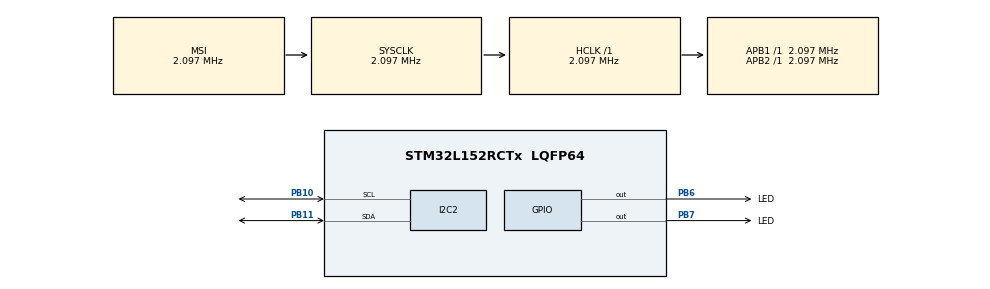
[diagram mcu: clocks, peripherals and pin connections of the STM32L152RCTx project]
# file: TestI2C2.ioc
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Mcu.Family=STM32L1
Mcu.Name=STM32L152RCTx
Mcu.Package=LQFP64
NVIC.PriorityGroup=NVIC_PRIORITYGROUP_4
PB10.Mode=I2C
PB10.Signal=I2C2_SCL
PB11.Mode=I2C
PB11.Signal=I2C2_SDA
PB6.GPIO_Label=LED
PB6.Signal=GPIO_Output
PB7.GPIO_Label=LED
PB7.Signal=GPIO_Output
ProjectManager.HeapSize=0x200
ProjectManager.StackSize=0x400
ProjectManager.TargetToolchain=TrueSTUDIO
RCC.AHBFreq_Value=2097000
RCC.APB1Freq_Value=2097000
RCC.APB2Freq_Value=2097000
RCC.HSE_VALUE=24000000
RCC.HSI_VALUE=16000000
RCC.LSE_VALUE=32768
RCC.MSI_VALUE=2097000
RCC.SYSCLKFreq_VALUE=2097000
RCC.VCOOutputFreq_Value=48000000
board=TestI2C2

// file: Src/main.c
/**
  ******************************************************************************
  * @file           : main.c
  * @brief          : Main program body
  ******************************************************************************
  ** This notice applies to any and all portions of this file
  * that are not between comment pairs USER CODE BEGIN and
  * USER CODE END. Other portions of this file, whether
  * inserted by the user or by software development tools
  * are owned by their respective copyright owners.
  *
  * COPYRIGHT(c) 2018 STMicroelectronics
  *
  * Redistribution and use in source and binary forms, with or without modification,
  * are permitted provided that the following conditions are met:
  *   1. Redistributions of source code must retain the above copyright notice,
  *      this list of conditions and the following disclaimer.
  *   2. Redistributions in binary form must reproduce the above copyright notice,
  *      this list of conditions and the following disclaimer in the documentation
  *      and/or other materials provided with the distribution.
  *   3. Neither the name of STMicroelectronics nor the names of its contributors
  *      may be used to endorse or promote products derived from this software
  *      without specific prior written permission.
  *
  * THIS SOFTWARE IS PROVIDED BY THE COPYRIGHT HOLDERS AND CONTRIBUTORS "AS IS"
  * AND ANY EXPRESS OR IMPLIED WARRANTIES, INCLUDING, BUT NOT LIMITED TO, THE
  * IMPLIED WARRANTIES OF MERCHANTABILITY AND FITNESS FOR A PARTICULAR PURPOSE ARE
  * DISCLAIMED. IN NO EVENT SHALL THE COPYRIGHT HOLDER OR CONTRIBUTORS BE LIABLE
  * FOR ANY DIRECT, INDIRECT, INCIDENTAL, SPECIAL, EXEMPLARY, OR CONSEQUENTIAL
  * DAMAGES (INCLUDING, BUT NOT LIMITED TO, PROCUREMENT OF SUBSTITUTE GOODS OR
  * SERVICES; LOSS OF USE, DATA, OR PROFITS; OR BUSINESS INTERRUPTION) HOWEVER
  * CAUSED AND ON ANY THEORY OF LIABILITY, WHETHER IN CONTRACT, STRICT LIABILITY,
  * OR TORT (INCLUDING NEGLIGENCE OR OTHERWISE) ARISING IN ANY WAY OUT OF THE USE
  * OF THIS SOFTWARE, EVEN IF ADVISED OF THE POSSIBILITY OF SUCH DAMAGE.
  *
  ******************************************************************************
  */
#include "main.h"
#include "stm32l1xx_hal.h"
#include <stdio.h>
#include <stdlib.h>

/* USER CODE BEGIN PV */
/* Private variables ---------------------------------------------------------*/
I2C_HandleTypeDef hi2c2;
/* USER CODE END PV */

void SystemClock_Config(void);
static void MX_GPIO_Init(void);
static void MX_I2C2_Init(void);
static void SetupLTC(uint8_t *pData01);
static void ReadLTC(uint8_t *pData01);

/* USER CODE BEGIN PFP */
/* Private function prototypes -----------------------------------------------*/

/* USER CODE END PFP */

int main(void)
{
  /* USER CODE BEGIN 1 */
//testestsetesetst
  /* USER CODE END 1 */

  /* MCU Configuration----------------------------------------------------------*/

  /* Reset of all peripherals, Initializes the Flash interface and the Systick. */
  HAL_Init();

  /* Configure the system clock */

  /* Initialize all configured peripherals */
  MX_GPIO_Init();
  MX_I2C2_Init();
  /* USER CODE BEGIN 2 */
  //uint8_t I2CError;
  /* USER CODE END 2 */
  uint8_t pData01, pData00, pData07, pData08;
  uint8_t Tint[2], Vcc[2] , V6[2];
  float Tint1, Vcc1, V61;
  /* Infinite loop */
  /* USER CODE BEGIN WHILE */

  //HAL_Delay(100);
  //SetupLTC(&pData01);
  //SetupLTC(&pData01);
  //SetupLTC(&pData01);
  /*HAL_Delay(100);
  HAL_I2C_Mem_Read(&hi2c2, 0x90, 0x01, I2C_MEMADD_SIZE_8BIT, &pData01, 1, 1000); //status of channels
  HAL_Delay(100);
  HAL_I2C_Mem_Write(&hi2c2, 0x90, 0xF0, I2C_MEMADD_SIZE_8BIT, &pData01, 1, 1000); //enable all channels
  HAL_Delay(100);
*/
  HAL_Delay(100);
  ReadLTC(&pData01);

  HAL_Delay(100);
  SetupLTC(&pData01);

  while (1)
  {

  /* USER CODE END WHILE */

  /* USER CODE BEGIN 3 */
	  HAL_Delay(100);
	  HAL_GPIO_TogglePin(GPIOB, GPIO_PIN_6);
	  HAL_Delay(100);
	  HAL_GPIO_TogglePin(GPIOB, GPIO_PIN_7);

	  HAL_Delay(100);
	  ReadLTC(&pData01);

	  if((pData01 >> 1)&1)
	  {
		  HAL_I2C_Mem_Read(&hi2c2, 0x90, 0x1A, I2C_MEMADD_SIZE_8BIT, Tint, 2, 1000); //Reading Internal Temperature
		  //Tint[0] ^= Tint[0]<<8;
		  Tint1 = (((Tint[0]-128)<<8)+Tint[1])*0.0625;
	  }

	  if(pData01&1)
	  {
		  HAL_I2C_Mem_Read(&hi2c2, 0x90, 0x1C, I2C_MEMADD_SIZE_8BIT, Vcc, 2, 1000); //Reading Internal VCC
		  //Vcc[0] ^= Vcc[0]<<8;
		  Vcc1 = (((Vcc[0]-128)<<8)+Vcc[1])*0.00030518+2.5;
	  }

	  HAL_Delay(100);
	  HAL_I2C_Mem_Read(&hi2c2, 0x90, 0x00, I2C_MEMADD_SIZE_8BIT, &pData00, 2, 1000);

	  if((pData00 >> 6)&1)
	  {
		  HAL_I2C_Mem_Read(&hi2c2, 0x90, 0x14, I2C_MEMADD_SIZE_8BIT, V6, 2, 1000); //Reading Internal VCC
		  //Vcc[0] ^= Vcc[0]<<8;
		  V61 = (((V6[0]-128)<<8)+V6[1])*0.00030518+2.5;
	  }
	  printf("%x\n",pData01);

	  //HAL_I2C_Mem_Read(&hi2c2, 0x90, 0x01, I2C_MEMADD_SIZE_8BIT, &pData01, 1, 1000);
  }
  /* USER CODE END 3 */

}

void SystemClock_Config(void)
{

  RCC_OscInitTypeDef RCC_OscInitStruct;
  RCC_ClkInitTypeDef RCC_ClkInitStruct;

    /**Configure the main internal regulator output voltage
    */
  __HAL_PWR_VOLTAGESCALING_CONFIG(PWR_REGULATOR_VOLTAGE_SCALE1);

    /**Initializes the CPU, AHB and APB busses clocks
    */
  RCC_OscInitStruct.OscillatorType = RCC_OSCILLATORTYPE_MSI;
  RCC_OscInitStruct.MSIState = RCC_MSI_ON;
  RCC_OscInitStruct.MSICalibrationValue = 0;
  RCC_OscInitStruct.MSIClockRange = RCC_MSIRANGE_5;
  RCC_OscInitStruct.PLL.PLLState = RCC_PLL_NONE;
  if (HAL_RCC_OscConfig(&RCC_OscInitStruct) != HAL_OK)
  {
    _Error_Handler(__FILE__, __LINE__);
  }

    /**Initializes the CPU, AHB and APB busses clocks
    */
  RCC_ClkInitStruct.ClockType = RCC_CLOCKTYPE_HCLK|RCC_CLOCKTYPE_SYSCLK
                              |RCC_CLOCKTYPE_PCLK1|RCC_CLOCKTYPE_PCLK2;
  RCC_ClkInitStruct.SYSCLKSource = RCC_SYSCLKSOURCE_MSI;
  RCC_ClkInitStruct.AHBCLKDivider = RCC_SYSCLK_DIV1;
  RCC_ClkInitStruct.APB1CLKDivider = RCC_HCLK_DIV1;
  RCC_ClkInitStruct.APB2CLKDivider = RCC_HCLK_DIV1;

  if (HAL_RCC_ClockConfig(&RCC_ClkInitStruct, FLASH_LATENCY_0) != HAL_OK)
  {
    _Error_Handler(__FILE__, __LINE__);
  }

    /**Configure the Systick interrupt time
    */
  HAL_SYSTICK_Config(HAL_RCC_GetHCLKFreq()/1000);

    /**Configure the Systick
    */
  HAL_SYSTICK_CLKSourceConfig(SYSTICK_CLKSOURCE_HCLK);

  /* SysTick_IRQn interrupt configuration */
  HAL_NVIC_SetPriority(SysTick_IRQn, 0, 0);
}

/* I2C2 init function */
static void MX_I2C2_Init(void)
{

  hi2c2.Instance = I2C2;
  hi2c2.Init.ClockSpeed = 100000;
  hi2c2.Init.DutyCycle = I2C_DUTYCYCLE_2;
  hi2c2.Init.OwnAddress1 = 0;
  hi2c2.Init.AddressingMode = I2C_ADDRESSINGMODE_7BIT;
  hi2c2.Init.DualAddressMode = I2C_DUALADDRESS_DISABLE;
  hi2c2.Init.OwnAddress2 = 0;
  hi2c2.Init.GeneralCallMode = I2C_GENERALCALL_DISABLE;
  hi2c2.Init.NoStretchMode = I2C_NOSTRETCH_DISABLE;
  if (HAL_I2C_Init(&hi2c2) != HAL_OK)
  {
    _Error_Handler(__FILE__, __LINE__);
  }

}

/** Configure pins as
        * Analog
        * Input
        * Output
        * EVENT_OUT
        * EXTI
*/
static void MX_GPIO_Init(void)
{

  GPIO_InitTypeDef GPIO_InitStruct;

  /* GPIO Ports Clock Enable */
  __HAL_RCC_GPIOB_CLK_ENABLE();

  /*Configure GPIO pin Output Level */
  HAL_GPIO_WritePin(GPIOB, LED_Pin|LEDB7_Pin, GPIO_PIN_RESET);

  /*Configure GPIO pins : LED_Pin LEDB7_Pin */
  GPIO_InitStruct.Pin = LED_Pin|LEDB7_Pin;
  GPIO_InitStruct.Mode = GPIO_MODE_OUTPUT_PP;
  GPIO_InitStruct.Pull = GPIO_NOPULL;
  GPIO_InitStruct.Speed = GPIO_SPEED_FREQ_LOW;
  HAL_GPIO_Init(GPIOB, &GPIO_InitStruct);

}

/* USER CODE BEGIN 4 */
void SetupLTC (uint8_t *pData01)
{
	  uint8_t datatosend[2];
	  datatosend[0] = 0x01;
	  datatosend[1] = 0xF8;
	  uint8_t data2send = 0xF8;

	  HAL_Delay(100);
	  //HAL_I2C_Mem_Write(I2C_HandleTypeDef *hi2c, uint16_t DevAddress, uint16_t MemAddress, uint16_t MemAddSize, uint8_t *pData, uint16_t Size, uint32_t Timeout)
	  HAL_I2C_Mem_Write(&hi2c2, 							0x90, 				0x01, I2C_MEMADD_SIZE_8BIT, &data2send, 				1, 				1000); //enable all channels
	  return;
}
void ReadLTC (uint8_t *pData01)
{
	HAL_Delay(100);
    HAL_I2C_Mem_Read(&hi2c2, 0x90, 0x01, I2C_MEMADD_SIZE_8BIT, pData01, 1, 1000); //status of channels
    //HAL_StatusTypeDef HAL_I2C_IsDeviceReady(I2C_HandleTypeDef *hi2c, uint16_t DevAddress, uint32_t Trials, uint32_t Timeout);
    	  //HAL_I2C_IsDeviceReady(&hi2c2,0x90, 1, 100);

    	  /* HAL_StatusTypeDef HAL_I2C_Mem_Write(I2C_HandleTypeDef *hi2c, uint16_t DevAddress, uint16_t MemAddress, uint16_t MemAddSize, uint8_t *pData, uint16_t Size, uint32_t Timeout);
    	   *
    		HAL_StatusTypeDef HAL_I2C_Mem_Read(I2C_HandleTypeDef *hi2c, uint16_t DevAddress, uint16_t MemAddress, uint16_t MemAddSize, uint8_t *pData, uint16_t Size, uint32_t Timeout);

    	   	 HAL_StatusTypeDef HAL_I2C_Master_Transmit(I2C_HandleTypeDef *hi2c, uint16_t DevAddress, uint8_t *pData, uint16_t Size, uint32_t Timeout)
    	   	 */

    	  //HAL_I2C_Mem_Read(&hi2c2, 0x90, 0x01, I2C_MEMADD_SIZE_8BIT, &pData01, 1, 1000); //status of channels

    	  //I2CError = HAL_I2C_Mem_Write(&hi2c2, 0x90, *datatosend, I2C_MEMADD_SIZE_8BIT, &pData01, 1, 1000); //enable all channels
    	  //HAL_Delay(100);
    	  //HAL_I2C_Mem_Read(&hi2c2, 0x90, 0x00, I2C_MEMADD_SIZE_8BIT, &pData01, 1, 1000); //status of channels
    	  /*HAL_Delay(100);
    	  HAL_Delay(100);
    	  HAL_I2C_Mem_Read(&hi2c2, 0x90, 0x01, I2C_MEMADD_SIZE_8BIT, &pData01, 1, 1000); //status of channels
    	  HAL_Delay(100);
    	  HAL_I2C_Mem_Write(&hi2c2, 0x90, 0xF0, I2C_MEMADD_SIZE_8BIT, &pData01, 1, 1000); //enable all channels*/

    	  //HAL_Delay(1000);
    	  //pData06 = 0x06;
    	   //HAL_I2C_Master_Transmit(&hi2c2, 0x90, &pData06, 1, 10000);
    	  //I2CError =
    	   //printf("%i\n",I2CError);
    	  //HAL_Delay(1000);
    	  //HAL_I2C_Mem_Read(&hi2c2,0x90, 0x07, I2C_MEMADD_SIZE_8BIT, &pData07, 1, 1000);
    	  //HAL_Delay(1000);
    	  //HAL_I2C_Mem_Read(&hi2c2,0x90, 0x08, I2C_MEMADD_SIZE_8BIT, &pData08, 1, 1000);
    	  //HAL_Delay(50);
    return;
}
/* USER CODE END 4 */

void _Error_Handler(char *file, int line)
{
  while(1)
  {
  }
}

/************************ (C) COPYRIGHT STMicroelectronics *****END OF FILE****/
